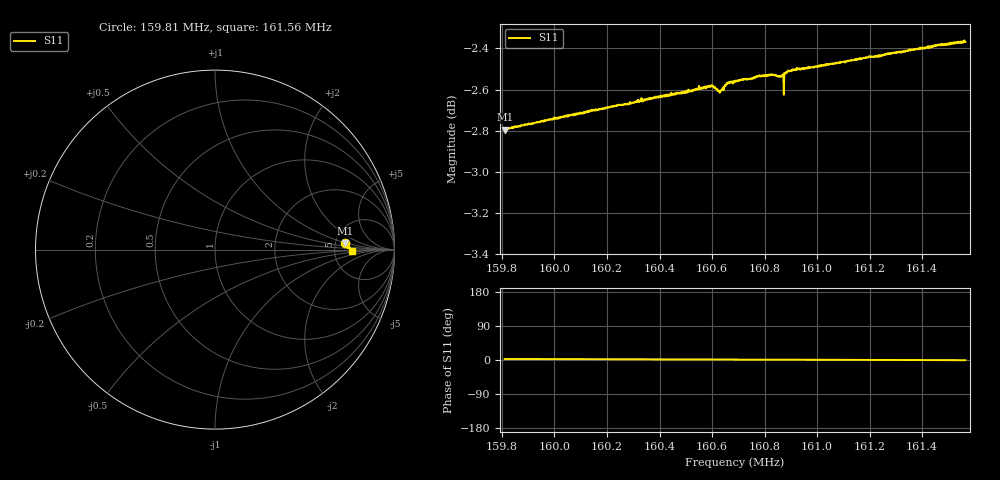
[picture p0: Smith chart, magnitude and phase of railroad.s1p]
! Calibrated averaged scanner-service zoom
# Hz S RI R 50
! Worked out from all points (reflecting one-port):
!   1001 points, 159.81 MHz to 161.56 MHz, reference 50 ohm
!   lowest |S11| = -2.8 dB at 159.81 MHz (marker M1), VSWR 6.27, Z = 307 + j44.2 ohm
!   phase of S11 starts at 3 deg and turns -3 deg over the sweep
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1.5981e8  0.7245 0.0343
1.598118e8  0.7241 0.0342
1.600294e8  0.7294 0.0297
1.602488e8  0.7346 0.0255
1.604681e8  0.7394 0.0208
1.60526e8  0.7404 0.0196
1.605453e8  0.7416 0.0191
1.605962e8  0.7428 0.0181
1.606296e8  0.7397 0.0194
1.606366e8  0.7407 0.0186
1.606612e8  0.7442 0.0161
1.606875e8  0.7443 0.0159
1.607208e8  0.7456 0.0151
1.607472e8  0.7454 0.0143
1.607735e8  0.7469 0.0139
1.608244e8  0.7476 0.0124
1.608332e8  0.7473 0.0123
1.608525e8  0.7469 0.01
1.60863e8  0.7466 0.0095
1.608648e8  0.7471 0.00936
1.608823e8  0.7486 0.0105
1.608841e8  0.7481 0.0104
1.609069e8  0.7492 0.0103
1.611262e8  0.7534 0.00505
1.613456e8  0.7578 -0.000765
1.614334e8  0.7591 -0.00309
1.614579e8  0.7602 -0.00387
1.61565e8  0.7613 -0.00679
